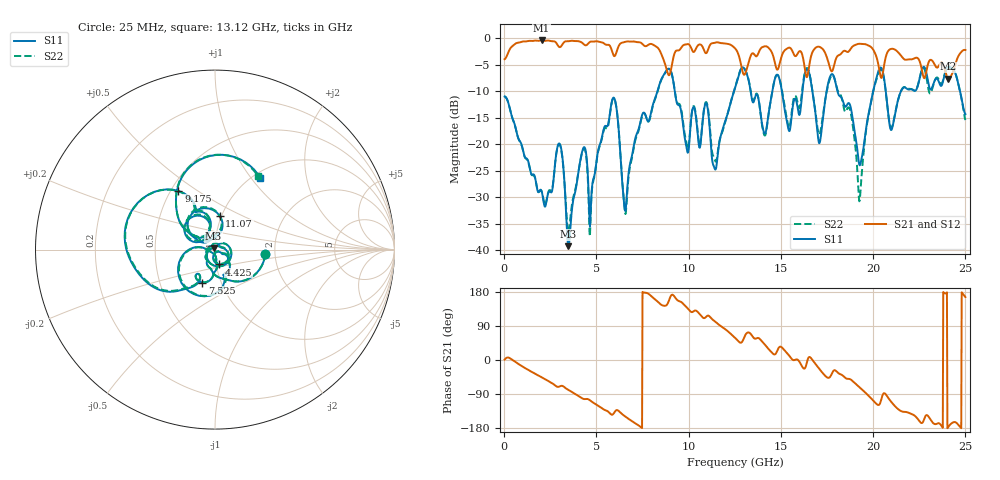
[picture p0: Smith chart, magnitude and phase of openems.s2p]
! R_s4_rect_n0: Finite board 24 × 16 mm, via L1 → L4 through the L2/L3 cavity, no return via
! stackup: 4-layer 1.6 mm FR-4
! ports: 1 L1, 2 L4
! openEMS 0.37.0, staircase, fine mesh (dfine 0.035 mm), 1187450 cells
# Hz S RI R 50
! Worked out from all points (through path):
!   1000 points, 25 MHz to 25 GHz, reference 50 ohm
!   highest |S21| = -0.43 dB at 2.025 GHz (marker M1); lowest = -7.6 dB at 24.07 GHz (marker M2)
!   group delay of S21, straight-line fit = 62.1 ps
!   lowest |S11| = -39.3 dB at 3.475 GHz (marker M3), VSWR 1.02, Z = 49.2 + j0.728 ohm
!   |S11| at or under -10 dB: start of sweep to 8.312 GHz; 9.248 GHz to 12.46 GHz (3.215 GHz wide, 29.6 % of centre); 18.06 GHz to 20 GHz (1.936 GHz wide, 10.2 % of centre) (the widest 3 of 8)
!   |S22| runs from -37.4 to -5.5 dB; largest |S21 - S12| = 0.0055
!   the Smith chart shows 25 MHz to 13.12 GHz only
!   S11 on the Smith chart (normalised r, x): 25 MHz: 1.78, -0.09; 4.425 GHz: 1.03, -0.17; 7.525 GHz: 0.82, -0.31; 9.175 GHz: 0.55, +0.42; 11.07 GHz: 0.98, +0.38; 13.12 GHz: 1.08, +1.11
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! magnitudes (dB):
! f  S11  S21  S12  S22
! 25 MHz  -11.0  -4.0  -4.0  -11.0
! 2.025 GHz  -28.8  -0.4  -0.4  -28.9
! 3 GHz  -19.9  -1.7  -1.7  -20.0
! 3.475 GHz  -39.3  -0.6  -0.6  -36.6
! 4.2 GHz  -21.8  -0.8  -0.8  -22.0
! 4.425 GHz  -21.4  -1.4  -1.3  -21.8
! 4.7 GHz  -31.8  -0.6  -0.6  -32.3
! 5.95 GHz  -11.3  -3.3  -3.3  -11.4
! 6.575 GHz  -32.6  -0.7  -0.7  -33.2
! 7.525 GHz  -14.1  -1.2  -1.2  -14.3
! 8.35 GHz  -9.5  -1.9  -1.9  -9.7
! 9.175 GHz  -8.3  -3.6  -3.6  -8.2
! 11.07 GHz  -14.4  -2.0  -2.0  -13.9
! 11.43 GHz  -24.7  -0.9  -0.9  -23.1
! 12.53 GHz  -9.3  -2.0  -2.0  -9.2
! 13.12 GHz  -6.5  -6.1  -6.2  -6.5
! 16.68 GHz  -9.3  -2.9  -2.9  -9.2
! 19.27 GHz  -24.0  -1.1  -1.0  -30.6
! 20.27 GHz  -6.3  -4.9  -4.8  -6.7
! 20.85 GHz  -15.3  -2.3  -2.2  -15.1
! 24.07 GHz  -5.4  -7.6  -7.6  -5.5
! 25 GHz  -14.3  -2.2  -2.2  -15.5
